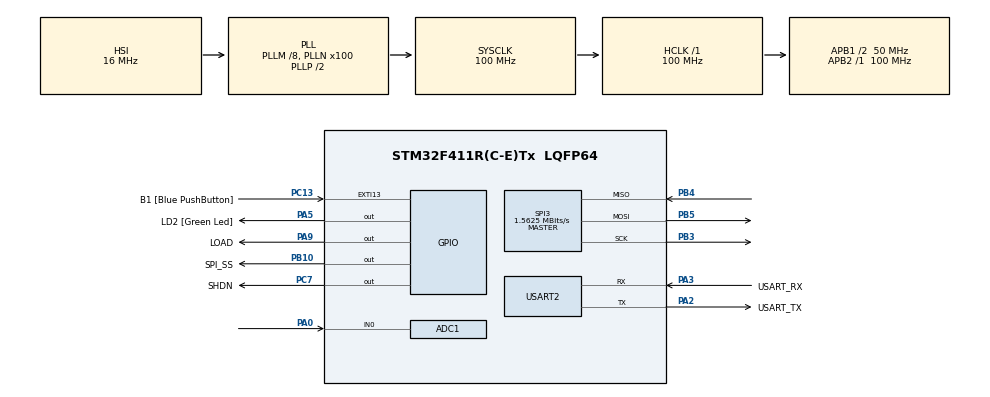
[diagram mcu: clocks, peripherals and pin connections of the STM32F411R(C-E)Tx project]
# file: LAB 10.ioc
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Mcu.Family=STM32F4
PB10.PinState=GPIO_PIN_SET
RCC.CortexFreq_Value=100000000
SPI3.Direction=SPI_DIRECTION_2LINES
SPI3.VirtualType=VM_MASTER
ADC1.ContinuousConvMode=ENABLE
PA14.GPIO_Label=TCK
RCC.SYSCLKSource=RCC_SYSCLKSOURCE_PLLCLK
ProjectManager.StackSize=0x400
NVIC.ADC_IRQn=true\:0\:6\:false\:false\:true\:true\:true
PH0\ -\ OSC_IN.Signal=RCC_OSC_IN
RCC.HCLKFreq_Value=100000000
RCC.APB2TimFreq_Value=100000000
TIM3.Period=100
Dma.ADC1.0.Direction=DMA_PERIPH_TO_MEMORY
PC7.Signal=GPIO_Output
NVIC.DMA2_Stream0_IRQn=true\:0\:0\:false\:false\:true\:false\:true
Dma.ADC1.0.MemDataAlignment=DMA_MDATAALIGN_HALFWORD
RCC.AHBFreq_Value=100000000
SPI3.DataSize=SPI_DATASIZE_16BIT
NVIC.TIM1_TRG_COM_TIM11_IRQn=true\:0\:0\:false\:false\:true\:true\:true
RCC.HSE_VALUE=8000000
PB3.Mode=Full_Duplex_Master
ADC1.ScanConvMode=DISABLE
PC13-ANTI_TAMP.Signal=GPXTI13
PB4.Mode=Full_Duplex_Master
PC14-OSC32_IN.Mode=LSE-External-Oscillator
PA14.Mode=Serial_Wire
TIM3.Prescaler=99
Dma.ADC1.0.PeriphInc=DMA_PINC_DISABLE
PB5.Mode=Full_Duplex_Master
PC7.PinState=GPIO_PIN_SET
SH.ADCx_IN0.0=ADC1_IN0,IN0
RCC.FLatency-AdvancedSettings=FLASH_LATENCY_3
Mcu.Package=LQFP64
SPI3.Mode=SPI_MODE_MASTER
USART2.VirtualMode=VM_ASYNC
PA2.GPIO_Label=USART_TX
NVIC.SPI3_IRQn=true\:0\:0\:false\:false\:true\:true\:true
RCC.APB1TimFreq_Value=100000000
Dma.ADC1.0.FIFOMode=DMA_FIFOMODE_DISABLE
Dma.Request0=ADC1
VP_TIM3_VS_ClockSourceINT.Mode=Internal
PB4.Signal=SPI3_MISO
PA3.Signal=USART2_RX
PC15-OSC32_OUT.Mode=LSE-External-Oscillator
Dma.ADC1.0.Instance=DMA2_Stream0
PC13-ANTI_TAMP.GPIO_Label=B1 [Blue PushButton]
PA9.GPIO_Label=LOAD
PH1\ -\ OSC_OUT.Mode=HSE-External-Clock-Source
TIM11.Prescaler=99
RCC.APB1CLKDivider=RCC_HCLK_DIV2
PC14-OSC32_IN.Signal=RCC_OSC32_IN
NVIC.USART2_IRQn=true\:0\:0\:false\:false\:true\:true\:true
PA0-WKUP.Signal=ADCx_IN0
VP_TIM11_VS_ClockSourceINT.Mode=Enable_Timer
PA13.Signal=SYS_JTMS-SWDIO
PA3.Mode=Asynchronous
Dma.ADC1.0.PeriphDataAlignment=DMA_PDATAALIGN_HALFWORD
PH0\ -\ OSC_IN.Mode=HSE-External-Clock-Source
ProjectManager.TargetToolchain=STM32CubeIDE
PB10.GPIO_Label=SPI_SS
Dma.ADC1.0.Mode=DMA_CIRCULAR
Dma.ADC1.0.Priority=DMA_PRIORITY_LOW
PA9.Signal=GPIO_Output
PA9.PinState=GPIO_PIN_RESET
PC15-OSC32_OUT.Signal=RCC_OSC32_OUT
PB10.Signal=GPIO_Output
PA5.Signal=GPIO_Output
PH1\ -\ OSC_OUT.Signal=RCC_OSC_OUT
board=NUCLEO-F411RE
RCC.VCOOutputFreq_Value=200000000
RCC.APB2Freq_Value=100000000
SPI3.CalculateBaudRate=1.5625 MBits/s
SPI3.BaudRatePrescaler=SPI_BAUDRATEPRESCALER_32
ADC1.DMAContinuousRequests=ENABLE
PA13.Mode=Serial_Wire
Mcu.Name=STM32F411R(C-E)Tx
PA2.Signal=USART2_TX
PA13.GPIO_Label=TMS
ADC1.ExternalTrigConv=ADC_EXTERNALTRIGCONV_T3_TRGO
PC7.GPIO_Label=SHDN
RCC.48MHZClocksFreq_Value=50000000
PB3.Signal=SPI3_SCK
RCC.SYSCLKFreq_VALUE=100000000
PB5.Signal=SPI3_MOSI
ADC1.master=1
PA5.GPIO_Label=LD2 [Green Led]
PC13-ANTI_TAMP.GPIO_ModeDefaultEXTI=GPIO_MODE_IT_FALLING
PA14.Signal=SYS_JTCK-SWCLK
Dma.ADC1.0.MemInc=DMA_MINC_ENABLE
ProjectManager.HeapSize=0x200
RCC.HSI_VALUE=16000000
NVIC.PriorityGroup=NVIC_PRIORITYGROUP_0
ADC1.NbrOfConversionFlag=1
RCC.PLLM=8
RCC.PLLN=100
PA2.Mode=Asynchronous
TIM3.TIM_MasterOutputTrigger=TIM_TRGO_UPDATE
RCC.APB1Freq_Value=50000000
PA3.GPIO_Label=USART_RX

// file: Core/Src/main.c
/* USER CODE BEGIN Header */
/**
 ******************************************************************************
 * @file           : main.c
 * @brief          : Main program body
 ******************************************************************************
 * @attention
 *
 * <h2><center>&copy; Copyright (c) 2021 STMicroelectronics.
 * All rights reserved.</center></h2>
 *
 * This software component is licensed by ST under BSD 3-Clause license,
 * the "License"; You may not use this file except in compliance with the
 * License. You may obtain a copy of the License at:
 *                        opensource.org/licenses/BSD-3-Clause
 *
 ******************************************************************************
 */
/* USER CODE END Header */
#include "main.h"

/* USER CODE BEGIN Includes */

#include <stdio.h>
#include <string.h>
#include <math.h>

/* USER CODE END Includes */

ADC_HandleTypeDef hadc1;
DMA_HandleTypeDef hdma_adc1;

SPI_HandleTypeDef hspi3;

TIM_HandleTypeDef htim3;
TIM_HandleTypeDef htim11;

UART_HandleTypeDef huart2;

/* USER CODE BEGIN PV */
uint16_t ADCin[5] = {0};
uint64_t _micro = 0;

int data =0;
int dataOut = 0;			//12bits of DAC (data)
uint8_t DACConfig = 0b0011;		//upper 4 bit of DAC
// 0 >> write A 				1 >> write B
// 0 >> Vref unbuffered			1 >> Vref buffered
// 0 >> Vout = 2*Vref*D/4096	1 >> Vout = 1*Vref*D/4096
// 0 >> No shutdown				1 >> Shutdown

enum _Mode {
	Mode_MainMenu = 0,
	Mode_MainMenuWait = 10,
	Mode_SawTooth = 20,
	Mode_SawTooth_Wait = 30,
	Mode_SineWave = 40,
	Mode_SineWave_Wait = 50,
	Mode_SquareWave = 60,
	Mode_SquareWave_Wait = 70
};
uint32_t CurrentMode = 0;			// Main Menu
float Frequency = 1;				//default frequency = 1 Hz
float MaxV = 3.3;					//Maximum voltage = 3.3V
float MinV = 0;						//Minimum voltage = 0V
int Slope = 1;						//1>>SlopeUp (default) -1>>SlopDown
float DutyCycle = 50;				//DutyCycle 0-100 % default at 50 %
int range = 0;
int Max = 0;						//Top boundary
int Min = 0;						//Bottom boundary
int period = 0;
char TxDataBuffer[32] = { 0 };
char RxDataBuffer[32] = { 0 };

char temp[100] = { 0 };

/* USER CODE END PV */

void SystemClock_Config(void);
static void MX_GPIO_Init(void);
static void MX_DMA_Init(void);
static void MX_ADC1_Init(void);
static void MX_SPI3_Init(void);
static void MX_USART2_UART_Init(void);
static void MX_TIM3_Init(void);
static void MX_TIM11_Init(void);
/* USER CODE BEGIN PFP */

void MCP4922SetOutput(uint8_t Config, uint16_t DACOutput);
uint64_t micros();

void UARTReceiveAndResponsePolling();
int16_t UARTReceiveIT();

/* USER CODE END PFP */

int main(void)
{

  /* MCU Configuration--------------------------------------------------------*/

  /* Reset of all peripherals, Initializes the Flash interface and the Systick. */
  HAL_Init();

  /* Configure the system clock */
  SystemClock_Config();

  /* Initialize all configured peripherals */
  MX_GPIO_Init();
  MX_DMA_Init();
  MX_ADC1_Init();
  MX_SPI3_Init();
  MX_USART2_UART_Init();
  MX_TIM3_Init();
  MX_TIM11_Init();
  /* USER CODE BEGIN 2 */
	HAL_TIM_Base_Start(&htim3);
	HAL_TIM_Base_Start_IT(&htim11);
	HAL_ADC_Start_DMA(&hadc1, (uint32_t*) ADCin, 5);

	HAL_GPIO_WritePin(LOAD_GPIO_Port, LOAD_Pin, GPIO_PIN_RESET);
  /* USER CODE END 2 */

  /* Infinite loop */
  /* USER CODE BEGIN WHILE */
	while (1) {
		/*Method 1 Polling Mode*>>Bad Implement for Loop/

		 // UARTReceiveAndResponsePolling();

		 /*Method 2 Interrupt Mode*/
		HAL_UART_Receive_IT(&huart2, (uint8_t*) RxDataBuffer, 32);

		/*Method 2 W/ 1 Char Received*/

		//read character
		int8_t inputchar = UARTReceiveIT();

		//	  	  		if (inputchar != -1)
		//	  	  		{
		//	  	  			sprintf(TxDataBuffer, "ReceivedChar:[%c]\r\n", inputchar);
		//	  	  			HAL_UART_Transmit(&huart2, (uint8_t*)TxDataBuffer, strlen(TxDataBuffer), 1000);
		//	  	  		}
		static uint64_t timestamp = 0;
		switch (CurrentMode)
		{
		case Mode_MainMenu:	//MainMENU
		{
			char temp[] = "\r\n---FUNCTION GENERATOR---\r\n"
					"---------------\r\n"
					"1 >> Saw Tooth\r\n"
					"2 >> Sine Wave\r\n"
					"3 >> Square Wave\r\n\r\n";
			HAL_UART_Transmit(&huart2, (uint8_t*) temp, strlen(temp), 1000);

			CurrentMode = Mode_MainMenuWait;
			break;
		}

		case Mode_MainMenuWait:
			switch (inputchar) {

			case -1:	//no input
				break;

			case '1':	//saw tooth
			{
				CurrentMode = Mode_SawTooth;
				break;
			}

			case '2': //sinewave
			{
				CurrentMode = Mode_SineWave;
				break;
			}

			case '3': //squarewave
			{
				CurrentMode = Mode_SquareWave;
				break;
			}

			default: {
				char temp[] = "!!!ERROR!!!\r\n";
				HAL_UART_Transmit(&huart2, (uint8_t*) temp, strlen(temp), 1000);
				CurrentMode = Mode_MainMenu;
				break;
			}
			}
			break;

		case Mode_SawTooth:	//SawTooth
		{
			char temp[] = "-------------------\r\n"
					"-----SAW TOOTH-----\r\n"
					"-------------------\r\n"
					"a : Increase Frequency +0.1 Hz\r\n"
					"s : Decrease Frequency -0.1 Hz\r\n"
					"d : Set V_High +0.1V\r\n"
					"f : Set V_High -0.1V\r\n"
					"g : Set V_Low +0.1V\r\n"
					"h : Set V_Low -0.1V\r\n"
					"j : Slope DOWN\r\n"
					"k : Slope UP\r\n"
					"x : back\r\n";
			HAL_UART_Transmit(&huart2, (uint8_t*) temp, strlen(temp), 1000);
			CurrentMode = Mode_SawTooth_Wait;
			break;
		}

		case Mode_SawTooth_Wait:
			switch (inputchar) {

			case -1:	//no input
				break;

			case 'a':	//increase frequency
				Frequency += 0.1;
				if (Frequency >= 10) {
					Frequency = 10;
				}
				CurrentMode = Mode_SawTooth;
				break;

			case 's':	//decrease frequency
				Frequency -= 0.1;
				if (Frequency <= 0) {
					Frequency = 0;
				}
				CurrentMode = Mode_SawTooth;
				break;

			case 'd':	// Set V_High +0.1V
				MaxV += 0.1;
				if (MaxV >= 3.3 && MaxV > MinV) {
					MaxV = 3.3;
				}
				CurrentMode = Mode_SawTooth;
				break;

			case 'f':	// Set V_High -0.1V
				MaxV -= 0.1;
				if (MaxV <= 0.1 && MaxV > MinV) {
					MaxV = 0.1;
				}
				CurrentMode = Mode_SawTooth;
				break;

			case 'g':	// Set V_Low +0.1V
				MinV += 0.1;
				if (MinV >= 3.2 && MaxV > MinV) {
					MinV = 3.2;
				}
				CurrentMode = Mode_SawTooth;
				break;

			case 'h':	// Set V_Low -0.1V
				MinV -= 0.1;
				if (MinV <= 0 && MaxV > MinV) {
					MinV = 0;
				}
				CurrentMode = Mode_SawTooth;
				break;

			case 'j':	//Slop DOWN
				Slope = -1;
				sprintf(temp, "\r\nSLOPE DOWN\r\n");
				HAL_UART_Transmit(&huart2, (uint8_t*) temp, strlen(temp), 1000);
				CurrentMode = Mode_SawTooth;
				break;

			case 'k':	//Slop UP
				Slope = 1;
				sprintf(temp, "\r\nSLOPE UP\r\n");
				HAL_UART_Transmit(&huart2, (uint8_t*) temp, strlen(temp), 1000);
				CurrentMode = Mode_SawTooth;
				break;

			case 'x':	//back
				MaxV = 3.3;
				MinV = 0;
				Frequency = 1;
				Slope = 1;
				CurrentMode = Mode_MainMenu;
				break;

			default:	//error
			{
				char temp[] = "\r\n\r\n!!!ERROR!!!\r\n\r\n";
				HAL_UART_Transmit(&huart2, (uint8_t*) temp, strlen(temp), 1000);
				CurrentMode = Mode_SawTooth;
				break;
			}
			}
			break;

		case Mode_SineWave:	//SineWave
		{
			char temp[] = "-------------------\r\n"
					"-----SINE WAVE-----\r\n"
					"-------------------\r\n"
					"a : Increase Frequency +0.1 Hz\r\n"
					"s : Decrease Frequency -0.1 Hz\r\n"
					"d : Set V_High +0.1V\r\n"
					"f : Set V_High -0.1V\r\n"
					"g : Set V_Low +0.1V\r\n"
					"h : Set V_Low -0.1V\r\n"
					"x : back\r\n";
			HAL_UART_Transmit(&huart2, (uint8_t*) temp, strlen(temp), 1000);
			CurrentMode = Mode_SineWave_Wait;
			break;
		}

		case Mode_SineWave_Wait:
			switch (inputchar) {

			case -1:	//no input
				break;

			case 'a':	//increase frequency
				Frequency += 0.1;
				if (Frequency >= 10) {
					Frequency = 10;
				}
				CurrentMode = Mode_SineWave;
				break;

			case 's':	//decrease frequency
				Frequency -= 0.1;
				if (Frequency <= 0) {
					Frequency = 0;
				}
				CurrentMode = Mode_SineWave;
				break;

			case 'd':	// Set V_High +0.1V
				MaxV += 0.1;
				if (MaxV >= 3.3 && MaxV > MinV) {
					MaxV = 3.3;
				}
				CurrentMode = Mode_SineWave;
				break;

			case 'f':	// Set V_High -0.1V
				MaxV -= 0.1;
				if (MaxV <= 0.1 && MaxV > MinV) {
					MaxV = 0.1;
				}
				CurrentMode = Mode_SineWave;
				break;

			case 'g':	// Set V_Low +0.1V
				MinV += 0.1;
				if (MinV >= 3.2 && MaxV > MinV) {
					MinV = 3.2;
				}
				CurrentMode = Mode_SineWave;
				break;

			case 'h':	// Set V_Low -0.1V
				MinV -= 0.1;
				if (MinV <= 0 && MaxV > MinV) {
					MinV = 0;
				}
				CurrentMode = Mode_SineWave;
				break;

			case 'x':	//back
				MaxV = 3.3;
				MinV = 0;
				Frequency = 1;
				CurrentMode = Mode_MainMenu;
				break;

			default:	//error
			{
				char temp[] = "\r\n\r\n!!!ERROR!!!\r\n\r\n";
				HAL_UART_Transmit(&huart2, (uint8_t*) temp, strlen(temp), 1000);
				CurrentMode = Mode_SineWave;
				break;
			}
			}
			break;

		case Mode_SquareWave:	//SquareWave
		{
			char temp[] = "-------------------\r\n"
					"-----SQUARE WAVE-----\r\n"
					"-------------------\r\n"
					"a : Increase Frequency +0.1 Hz\r\n"
					"s : Decrease Frequency -0.1 Hz\r\n"
					"d : Set V_High +0.1V\r\n"
					"f : Set V_High -0.1V\r\n"
					"g : Set V_Low +0.1V\r\n"
					"h : Set V_Low -0.1V\r\n"
					"j : Set Duty Cycle +5%\r\n"
					"k : Set Duty Cycle -5%\r\n"
					"x : back\r\n";
			HAL_UART_Transmit(&huart2, (uint8_t*) temp, strlen(temp), 1000);
			CurrentMode = Mode_SquareWave_Wait;
			break;
		}

		case Mode_SquareWave_Wait:
			switch (inputchar) {

			case -1:	//no input
				break;

			case 'a':	//increase frequency
				Frequency += 0.1;
				if (Frequency >= 10) {
					Frequency = 10;
				}
				CurrentMode = Mode_SquareWave;
				break;

			case 's':	//decrease frequency
				Frequency -= 0.1;
				if (Frequency <= 0) {
					Frequency = 0;
				}
				CurrentMode = Mode_SquareWave;
				break;

			case 'd':	// Set V_High +0.1V
				MaxV += 0.1;
				if (MaxV >= 3.3 && MaxV > MinV) {
					MaxV = 3.3;
				}
				CurrentMode = Mode_SquareWave;
				break;

			case 'f':	// Set V_High -0.1V
				MaxV -= 0.1;
				if (MaxV <= 0.1 && MaxV > MinV) {
					MaxV = 0.1;
				}
				CurrentMode = Mode_SquareWave;
				break;

			case 'g':	// Set V_Low +0.1V
				MinV += 0.1;
				if (MinV >= 3.2 && MaxV > MinV) {
					MinV = 3.2;
				}
				CurrentMode = Mode_SquareWave;
				break;

			case 'h':	// Set V_Low -0.1V
				MinV -= 0.1;
				if (MinV <= 0 && MaxV > MinV) {
					MinV = 0;
				}
				CurrentMode = Mode_SquareWave;
				break;

			case 'j': // Set Duty Cycle +5
				DutyCycle += 5;
				if (DutyCycle >= 100)
				{
					DutyCycle = 100;
				}
				CurrentMode = Mode_SquareWave;
				break;

			case 'k': // Set Duty Cycle -5
				DutyCycle -= 5;
				if (DutyCycle <= 0)
				{
					DutyCycle = 0;
				}
				CurrentMode = Mode_SquareWave;
				break;

			case 'x':	//back
				MaxV = 3.3;
				MinV = 0;
				Frequency = 1;
				DutyCycle = 50;
				CurrentMode = Mode_MainMenu;
				break;

			default:	//error
			{
				char temp[] = "\r\n\r\n!!!ERROR!!!\r\n\r\n";
				HAL_UART_Transmit(&huart2, (uint8_t*) temp, strlen(temp), 1000);
				CurrentMode = Mode_SquareWave;
				break;
			}
			}
			break;
		}
		if (CurrentMode == Mode_SawTooth_Wait)
		{
			if (micros() - timestamp > 1000)
			{
				timestamp = micros();
				if (Slope == 1)		//slope UP (min>>max)
					{
					// ( amplitude * frequency * time % amplitude ) + initial >> V_low
					// amplitude = (high - low) *4096/3.3
					data = (MaxV - MinV) * (4096.0 / 3.3) * Frequency * (timestamp / 1000000.0);
					int range = ((MaxV - MinV) * (4096.0 / 3.3));
					data %= range;
					data += (MinV * 4096.0 / 3.3);
					}
				else if (Slope == -1)	//slope DOWN (max>>min)
					{
					// ( amplitude * frequency * time % amplitude ) + initial >> V_low + V_high
					data =  -((MaxV-MinV) * (4096.0 / 3.3) * Frequency * (timestamp / 1000000.0));
					int range = ((MinV - MaxV) * (4096.0 / 3.3));
					data %= range;
					data += ((MaxV) * 4096.0 / 3.3);
					}
				dataOut = data;
			}
			if (hspi3.State == HAL_SPI_STATE_READY && HAL_GPIO_ReadPin(SPI_SS_GPIO_Port, SPI_SS_Pin) == GPIO_PIN_SET)
			{
				MCP4922SetOutput(DACConfig, dataOut);
			}
		}

		if (CurrentMode == Mode_SineWave_Wait)
		{
			if (micros() - timestamp > 1000)
			{
				timestamp = micros();
				//data = amplitude * sin(omega*/t) +initail>>V_Low
				//omega = 2*pi*f
				data = ((MaxV-MinV)*4096.0/(3.3*2))*sin(2*3.14*Frequency*timestamp/1000000.0);
				int range = ((MaxV - MinV) * (4096.0 / 3.3));
				data %= range;
				data += ((MaxV-MinV)*4096.0/(3.3*2)) + (MinV*4096.0/3.3);
				dataOut = data;
			}
			if (hspi3.State == HAL_SPI_STATE_READY && HAL_GPIO_ReadPin(SPI_SS_GPIO_Port, SPI_SS_Pin) == GPIO_PIN_SET)
			{
				MCP4922SetOutput(DACConfig, dataOut);
			}
		}

		else if (CurrentMode == Mode_SquareWave_Wait)
		{
			if (micros() - timestamp > 1000)
			{
				int period = (1000000/Frequency)*DutyCycle/100;
				if (micros() - timestamp < period) 		//ON
				{
					dataOut =  MaxV*4095/3.3;
				}
				if (micros() - timestamp > period)		//OFF
				{
					dataOut =  MinV*4095/3.3;
				}
				if (micros() - timestamp >= 1000000/Frequency )
				{
					timestamp = micros();
				}

				if (hspi3.State == HAL_SPI_STATE_READY && HAL_GPIO_ReadPin(SPI_SS_GPIO_Port, SPI_SS_Pin) == GPIO_PIN_SET)
				{
					MCP4922SetOutput(DACConfig, dataOut);
				}
			}

		}
	}
    /* USER CODE END WHILE */

}

void SystemClock_Config(void)
{
  RCC_OscInitTypeDef RCC_OscInitStruct = {0};
  RCC_ClkInitTypeDef RCC_ClkInitStruct = {0};

  /** Configure the main internal regulator output voltage
  */
  __HAL_RCC_PWR_CLK_ENABLE();
  __HAL_PWR_VOLTAGESCALING_CONFIG(PWR_REGULATOR_VOLTAGE_SCALE1);
  /** Initializes the RCC Oscillators according to the specified parameters
  * in the RCC_OscInitTypeDef structure.
  */
  RCC_OscInitStruct.OscillatorType = RCC_OSCILLATORTYPE_HSI;
  RCC_OscInitStruct.HSIState = RCC_HSI_ON;
  RCC_OscInitStruct.HSICalibrationValue = RCC_HSICALIBRATION_DEFAULT;
  RCC_OscInitStruct.PLL.PLLState = RCC_PLL_ON;
  RCC_OscInitStruct.PLL.PLLSource = RCC_PLLSOURCE_HSI;
  RCC_OscInitStruct.PLL.PLLM = 8;
  RCC_OscInitStruct.PLL.PLLN = 100;
  RCC_OscInitStruct.PLL.PLLP = RCC_PLLP_DIV2;
  RCC_OscInitStruct.PLL.PLLQ = 4;
  if (HAL_RCC_OscConfig(&RCC_OscInitStruct) != HAL_OK)
  {
    Error_Handler();
  }
  /** Initializes the CPU, AHB and APB buses clocks
  */
  RCC_ClkInitStruct.ClockType = RCC_CLOCKTYPE_HCLK|RCC_CLOCKTYPE_SYSCLK
                              |RCC_CLOCKTYPE_PCLK1|RCC_CLOCKTYPE_PCLK2;
  RCC_ClkInitStruct.SYSCLKSource = RCC_SYSCLKSOURCE_PLLCLK;
  RCC_ClkInitStruct.AHBCLKDivider = RCC_SYSCLK_DIV1;
  RCC_ClkInitStruct.APB1CLKDivider = RCC_HCLK_DIV2;
  RCC_ClkInitStruct.APB2CLKDivider = RCC_HCLK_DIV1;

  if (HAL_RCC_ClockConfig(&RCC_ClkInitStruct, FLASH_LATENCY_3) != HAL_OK)
  {
    Error_Handler();
  }
}

static void MX_ADC1_Init(void)
{

  /** Configure the global features of the ADC (Clock, Resolution, Data Alignment and number of conversion)
  */
  hadc1.Instance = ADC1;
  hadc1.Init.ClockPrescaler = ADC_CLOCK_SYNC_PCLK_DIV4;
  hadc1.Init.Resolution = ADC_RESOLUTION_12B;
  hadc1.Init.ScanConvMode = DISABLE;
  hadc1.Init.ContinuousConvMode = ENABLE;
  hadc1.Init.DiscontinuousConvMode = DISABLE;
  hadc1.Init.ExternalTrigConvEdge = ADC_EXTERNALTRIGCONVEDGE_RISING;
  hadc1.Init.ExternalTrigConv = ADC_EXTERNALTRIGCONV_T3_TRGO;
  hadc1.Init.DataAlign = ADC_DATAALIGN_RIGHT;
  hadc1.Init.NbrOfConversion = 1;
  hadc1.Init.DMAContinuousRequests = ENABLE;
  hadc1.Init.EOCSelection = ADC_EOC_SINGLE_CONV;
  if (HAL_ADC_Init(&hadc1) != HAL_OK)
  {
    Error_Handler();
  }

}

static void MX_SPI3_Init(void)
{

  /* SPI3 parameter configuration*/
  hspi3.Instance = SPI3;
  hspi3.Init.Mode = SPI_MODE_MASTER;
  hspi3.Init.Direction = SPI_DIRECTION_2LINES;
  hspi3.Init.DataSize = SPI_DATASIZE_16BIT;
  hspi3.Init.CLKPolarity = SPI_POLARITY_LOW;
  hspi3.Init.CLKPhase = SPI_PHASE_1EDGE;
  hspi3.Init.NSS = SPI_NSS_SOFT;
  hspi3.Init.BaudRatePrescaler = SPI_BAUDRATEPRESCALER_32;
  hspi3.Init.FirstBit = SPI_FIRSTBIT_MSB;
  hspi3.Init.TIMode = SPI_TIMODE_DISABLE;
  hspi3.Init.CRCCalculation = SPI_CRCCALCULATION_DISABLE;
  hspi3.Init.CRCPolynomial = 10;
  if (HAL_SPI_Init(&hspi3) != HAL_OK)
  {
    Error_Handler();
  }

}

static void MX_TIM3_Init(void)
{

  TIM_ClockConfigTypeDef sClockSourceConfig = {0};
  TIM_MasterConfigTypeDef sMasterConfig = {0};

  htim3.Instance = TIM3;
  htim3.Init.Prescaler = 99;
  htim3.Init.CounterMode = TIM_COUNTERMODE_UP;
  htim3.Init.Period = 100;
  htim3.Init.ClockDivision = TIM_CLOCKDIVISION_DIV1;
  htim3.Init.AutoReloadPreload = TIM_AUTORELOAD_PRELOAD_DISABLE;
  if (HAL_TIM_Base_Init(&htim3) != HAL_OK)
  {
    Error_Handler();
  }
  sClockSourceConfig.ClockSource = TIM_CLOCKSOURCE_INTERNAL;
  if (HAL_TIM_ConfigClockSource(&htim3, &sClockSourceConfig) != HAL_OK)
  {
    Error_Handler();
  }
  sMasterConfig.MasterOutputTrigger = TIM_TRGO_UPDATE;
  sMasterConfig.MasterSlaveMode = TIM_MASTERSLAVEMODE_DISABLE;
  if (HAL_TIMEx_MasterConfigSynchronization(&htim3, &sMasterConfig) != HAL_OK)
  {
    Error_Handler();
  }

}

static void MX_TIM11_Init(void)
{

  htim11.Instance = TIM11;
  htim11.Init.Prescaler = 99;
  htim11.Init.CounterMode = TIM_COUNTERMODE_UP;
  htim11.Init.Period = 65535;
  htim11.Init.ClockDivision = TIM_CLOCKDIVISION_DIV1;
  htim11.Init.AutoReloadPreload = TIM_AUTORELOAD_PRELOAD_DISABLE;
  if (HAL_TIM_Base_Init(&htim11) != HAL_OK)
  {
    Error_Handler();
  }

}

static void MX_USART2_UART_Init(void)
{

  huart2.Instance = USART2;
  huart2.Init.BaudRate = 115200;
  huart2.Init.WordLength = UART_WORDLENGTH_8B;
  huart2.Init.StopBits = UART_STOPBITS_1;
  huart2.Init.Parity = UART_PARITY_NONE;
  huart2.Init.Mode = UART_MODE_TX_RX;
  huart2.Init.HwFlowCtl = UART_HWCONTROL_NONE;
  huart2.Init.OverSampling = UART_OVERSAMPLING_16;
  if (HAL_UART_Init(&huart2) != HAL_OK)
  {
    Error_Handler();
  }

}

static void MX_DMA_Init(void)
{

  /* DMA controller clock enable */
  __HAL_RCC_DMA2_CLK_ENABLE();

  /* DMA interrupt init */
  /* DMA2_Stream0_IRQn interrupt configuration */
  HAL_NVIC_SetPriority(DMA2_Stream0_IRQn, 0, 0);
  HAL_NVIC_EnableIRQ(DMA2_Stream0_IRQn);

}

static void MX_GPIO_Init(void)
{
  GPIO_InitTypeDef GPIO_InitStruct = {0};

  /* GPIO Ports Clock Enable */
  __HAL_RCC_GPIOC_CLK_ENABLE();
  __HAL_RCC_GPIOH_CLK_ENABLE();
  __HAL_RCC_GPIOA_CLK_ENABLE();
  __HAL_RCC_GPIOB_CLK_ENABLE();

  /*Configure GPIO pin Output Level */
  HAL_GPIO_WritePin(GPIOA, LD2_Pin|LOAD_Pin, GPIO_PIN_RESET);

  /*Configure GPIO pin Output Level */
  HAL_GPIO_WritePin(SPI_SS_GPIO_Port, SPI_SS_Pin, GPIO_PIN_SET);

  /*Configure GPIO pin Output Level */
  HAL_GPIO_WritePin(SHDN_GPIO_Port, SHDN_Pin, GPIO_PIN_SET);

  /*Configure GPIO pin : B1_Pin */
  GPIO_InitStruct.Pin = B1_Pin;
  GPIO_InitStruct.Mode = GPIO_MODE_IT_FALLING;
  GPIO_InitStruct.Pull = GPIO_NOPULL;
  HAL_GPIO_Init(B1_GPIO_Port, &GPIO_InitStruct);

  /*Configure GPIO pins : LD2_Pin LOAD_Pin */
  GPIO_InitStruct.Pin = LD2_Pin|LOAD_Pin;
  GPIO_InitStruct.Mode = GPIO_MODE_OUTPUT_PP;
  GPIO_InitStruct.Pull = GPIO_NOPULL;
  GPIO_InitStruct.Speed = GPIO_SPEED_FREQ_LOW;
  HAL_GPIO_Init(GPIOA, &GPIO_InitStruct);

  /*Configure GPIO pin : SPI_SS_Pin */
  GPIO_InitStruct.Pin = SPI_SS_Pin;
  GPIO_InitStruct.Mode = GPIO_MODE_OUTPUT_PP;
  GPIO_InitStruct.Pull = GPIO_NOPULL;
  GPIO_InitStruct.Speed = GPIO_SPEED_FREQ_LOW;
  HAL_GPIO_Init(SPI_SS_GPIO_Port, &GPIO_InitStruct);

  /*Configure GPIO pin : SHDN_Pin */
  GPIO_InitStruct.Pin = SHDN_Pin;
  GPIO_InitStruct.Mode = GPIO_MODE_OUTPUT_PP;
  GPIO_InitStruct.Pull = GPIO_NOPULL;
  GPIO_InitStruct.Speed = GPIO_SPEED_FREQ_LOW;
  HAL_GPIO_Init(SHDN_GPIO_Port, &GPIO_InitStruct);

}

/* USER CODE BEGIN 4 */
void MCP4922SetOutput(uint8_t Config, uint16_t DACOutput) {
	uint32_t OutputPacket = (DACOutput & 0x0fff) | ((Config & 0xf) << 12);
	//outputpacket >> config 4 bits + DACOutput (data) 12 bits

	HAL_GPIO_WritePin(SPI_SS_GPIO_Port, SPI_SS_Pin, GPIO_PIN_RESET);
	HAL_SPI_Transmit_IT(&hspi3, &OutputPacket, 1);//size 1 >> 1 outputpacket => 16 bits
}

void HAL_SPI_TxCpltCallback(SPI_HandleTypeDef *hspi) {
	if (hspi == &hspi3) {
		//transmit complete >> slave select turn to HIGH to tell that it's complete (every rounds)
		HAL_GPIO_WritePin(SPI_SS_GPIO_Port, SPI_SS_Pin, GPIO_PIN_SET);
	}
}

void HAL_TIM_PeriodElapsedCallback(TIM_HandleTypeDef *htim) {
	if (htim == &htim11) {
		_micro += 65535;
	}
}

inline uint64_t micros() {
	return htim11.Instance->CNT + _micro;
}

void UARTReceiveAndResponsePolling() {
	//create Buffer
	char Receive[32] = { 0 };

	//start Receive in Polling Method
	HAL_UART_Receive(&huart2, (uint8_t*) Receive, 32, 1000);

	//create Feedback text
	sprintf(TxDataBuffer, "Received:[%s]\r\n", Receive);

	//send Text
	HAL_UART_Transmit(&huart2, (uint8_t*) TxDataBuffer, strlen(TxDataBuffer),
			1000);

}

int16_t UARTReceiveIT() {
	static uint32_t dataPos = 0;
	int16_t data = -1;
	if (huart2.RxXferSize - huart2.RxXferCount != dataPos) {
		data = RxDataBuffer[dataPos];
		dataPos = (dataPos + 1) % huart2.RxXferSize;
	}
	return data;
}

void HAL_UART_RxCpltCallback(UART_HandleTypeDef *huart) {
	sprintf(TxDataBuffer, "Received:[%s]\r\n", RxDataBuffer);
	HAL_UART_Transmit(&huart2, (uint8_t) TxDataBuffer, strlen(TxDataBuffer),
			1000);
}

/* USER CODE END 4 */

void Error_Handler(void)
{
	__disable_irq();
	while (1) {
	}
}

/************************ (C) COPYRIGHT STMicroelectronics *****END OF FILE****/
